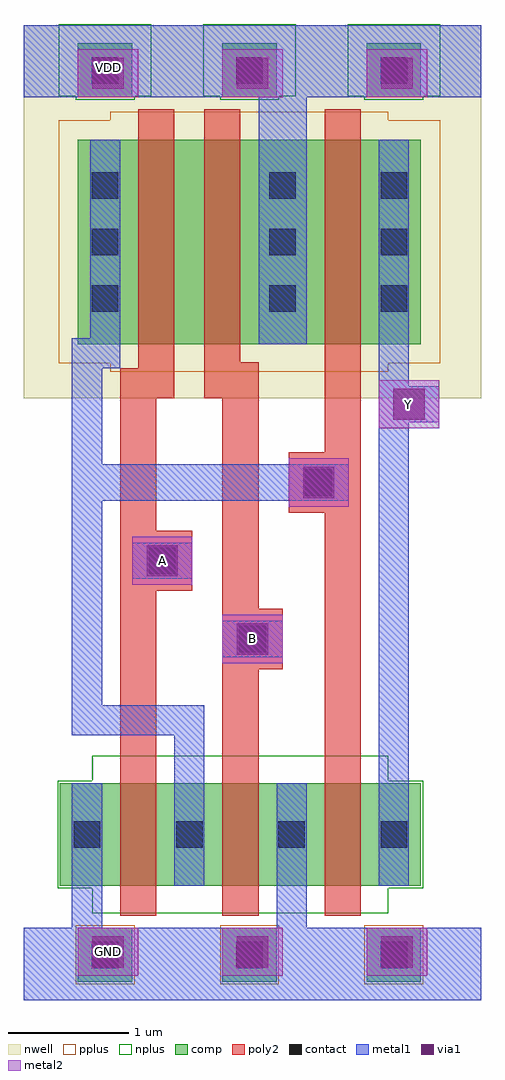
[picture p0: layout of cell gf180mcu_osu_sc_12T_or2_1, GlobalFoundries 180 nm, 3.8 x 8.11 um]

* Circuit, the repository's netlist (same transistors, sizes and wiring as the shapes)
.inc "../../char/techfiles/design.hspice"
.lib "../../char/techfiles/sm141064.hspice" typical

.GLOBAL VDD
.GLOBAL GND

.option scale=0.05u

.subckt gf180mcu_osu_sc_12T_or2_1 B A Y
X0 VDD B a_25_106 VDD pmos_3p3 w=34 l=6
X1 a_25_106 A a_9_106 VDD pmos_3p3 w=34 l=6
X2 Y a_9_106 GND GND nmos_3p3 w=17 l=6
X3 a_9_106 A GND GND nmos_3p3 w=17 l=6
X4 Y a_9_106 VDD VDD pmos_3p3 w=34 l=6
X5 GND B a_9_106 GND nmos_3p3 w=17 l=6
.ends

** hspice subcircuit dictionary

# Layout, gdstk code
import gdstk
lib = gdstk.Library(unit=1e-6, precision=1e-09)
def R(c, l, rs):  # rectangles x0, y0, x1, y1
    for r in rs: c.add(gdstk.rectangle(r[:2], r[2:], *l))
def A(c, l, x, y, w, h, nx, ny, dx, dy):  # array of equal rectangles
    R(c, l, [(x+i*dx, y+j*dy, x+i*dx+w, y+j*dy+h) for i in range(nx) for j in range(ny)])
nwell = (21, 0)
comp = (22, 0)
poly2 = (30, 0)
pplus = (31, 0)
nplus = (32, 0)
contact = (33, 0)
metal1 = (34, 0)
via1 = (35, 0)
metal2 = (36, 0)

gf180mcu_osu_sc_12t_or2_ = lib.new_cell('gf180mcu_osu_sc_12T_or2_1')
R(gf180mcu_osu_sc_12t_or2_, nwell, [(0,4.85,3.8,7.95)])
A(gf180mcu_osu_sc_12t_or2_, comp, 0.45, 0, 0.45, 0.45, 3, 2, 1.2, 7.35)
R(gf180mcu_osu_sc_12t_or2_, comp, [(0.3,0.8,3.3,1.65), (0.45,5.3,3.3,7)])
R(gf180mcu_osu_sc_12t_or2_, poly2, [(0.8,0.55,1.1,3.25), (1.65,0.55,1.95,2.6), (2.5,0.55,2.8,3.9), (1.65,2.6,2.15,3.1), (1.65,3.1,1.95,4.85), (0.8,3.25,1.4,3.75), (0.8,3.75,1.1,4.85), (2.2,3.9,2.8,4.4), (2.5,4.4,2.8,7.25), (0.8,4.85,1.25,5.1), (1.5,4.85,1.95,5.15), (0.95,5.1,1.25,7.25), (1.5,5.15,1.8,7.25)])
A(gf180mcu_osu_sc_12t_or2_, pplus, 0.43, -0.02, 0.49, 0.49, 3, 1, 1.2, 0)
R(gf180mcu_osu_sc_12t_or2_, pplus, [(0.72,5.07,3.03,5.14), (0.29,5.14,3.46,7.16), (0.72,7.16,3.03,7.23)])
A(gf180mcu_osu_sc_12t_or2_, nplus, 0.43, 7.33, 0.49, 0.03, 3, 1, 1.2, 0)
A(gf180mcu_osu_sc_12t_or2_, nplus, 0.29, 7.36, 0.77, 0.6, 3, 1, 1.2, 0)
R(gf180mcu_osu_sc_12t_or2_, nplus, [(0.57,0.57,3.03,0.78), (0.28,0.78,3.32,1.67), (0.57,1.67,3.03,1.88)])
A(gf180mcu_osu_sc_12t_or2_, contact, 0.565, 0.115, 0.22, 0.22, 3, 2, 1.2, 7.35)
A(gf180mcu_osu_sc_12t_or2_, contact, 0.415, 1.115, 0.22, 0.22, 4, 1, 0.85, 0)
A(gf180mcu_osu_sc_12t_or2_, contact, 0.565, 5.57, 0.22, 0.22, 1, 3, 0, 0.47)
A(gf180mcu_osu_sc_12t_or2_, contact, 2.04, 5.57, 0.22, 0.22, 1, 3, 0, 0.47)
A(gf180mcu_osu_sc_12t_or2_, contact, 2.965, 5.57, 0.22, 0.22, 1, 3, 0, 0.47)
R(gf180mcu_osu_sc_12t_or2_, contact, [(1.79,2.74,2.01,2.96), (1.04,3.39,1.26,3.61), (2.34,4.04,2.56,4.26)])
R(gf180mcu_osu_sc_12t_or2_, metal1, [(0,-0.15,3.8,0.45), (0.4,0.45,0.65,1.65), (2.1,0.45,2.35,1.65), (1.25,0.8,1.5,2.05), (2.95,0.8,3.2,4.65), (0.4,2.05,1.5,2.3), (0.4,2.3,0.65,4), (1.65,2.7,2.15,3), (0.9,3.35,1.4,3.65), (0.4,4,2.7,4.3), (0.4,4.3,0.65,5.1), (2.95,4.65,3.45,4.95), (2.95,4.95,3.2,7), (0.4,5.1,0.8,5.35), (1.95,5.3,2.35,7.35), (0.55,5.35,0.8,7), (0,7.35,3.8,7.95)])
A(gf180mcu_osu_sc_12t_or2_, via1, 0.57, 0.12, 0.26, 0.26, 3, 2, 1.2, 7.3)
R(gf180mcu_osu_sc_12t_or2_, via1, [(1.77,2.72,2.03,2.98), (1.02,3.37,1.28,3.63), (2.32,4.02,2.58,4.28), (3.07,4.67,3.33,4.93)])
A(gf180mcu_osu_sc_12t_or2_, metal2, 0.45, 0.05, 0.5, 0.4, 3, 2, 1.2, 7.3)
R(gf180mcu_osu_sc_12t_or2_, metal2, [(1.65,2.65,2.15,3.05), (0.9,3.3,1.4,3.7), (2.2,3.95,2.7,4.35), (2.95,4.6,3.45,5)])
gf180mcu_osu_sc_12t_or2_.add(gdstk.Label('GND', (0.7,0.25), layer=36, texttype=0))
gf180mcu_osu_sc_12t_or2_.add(gdstk.Label('VDD', (0.7,7.6), layer=36, texttype=0))
gf180mcu_osu_sc_12t_or2_.add(gdstk.Label('B', (1.9,2.85), layer=36, texttype=10))
gf180mcu_osu_sc_12t_or2_.add(gdstk.Label('A', (1.15,3.5), layer=36, texttype=10))
gf180mcu_osu_sc_12t_or2_.add(gdstk.Label('Y', (3.2,4.8), layer=36, texttype=10))

lib.write_gds('gf180mcu_osu_sc_12T_or2_1.gds')
